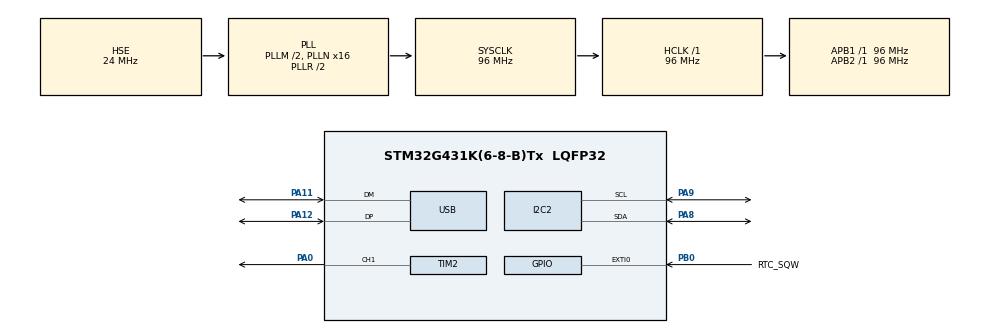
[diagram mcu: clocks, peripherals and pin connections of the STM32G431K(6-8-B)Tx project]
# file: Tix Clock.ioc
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Dma.Request0=TIM2_CH1
Dma.TIM2_CH1.0.Direction=DMA_MEMORY_TO_PERIPH
Dma.TIM2_CH1.0.EventEnable=DISABLE
Dma.TIM2_CH1.0.Instance=DMA1_Channel1
Dma.TIM2_CH1.0.MemDataAlignment=DMA_MDATAALIGN_WORD
Dma.TIM2_CH1.0.MemInc=DMA_MINC_ENABLE
Dma.TIM2_CH1.0.Mode=DMA_NORMAL
Dma.TIM2_CH1.0.PeriphDataAlignment=DMA_PDATAALIGN_WORD
Dma.TIM2_CH1.0.PeriphInc=DMA_PINC_DISABLE
Dma.TIM2_CH1.0.Polarity=HAL_DMAMUX_REQ_GEN_RISING
Dma.TIM2_CH1.0.Priority=DMA_PRIORITY_LOW
Dma.TIM2_CH1.0.RequestNumber=1
Dma.TIM2_CH1.0.SignalID=NONE
Dma.TIM2_CH1.0.SyncEnable=DISABLE
Dma.TIM2_CH1.0.SyncPolarity=HAL_DMAMUX_SYNC_NO_EVENT
Dma.TIM2_CH1.0.SyncRequestNumber=1
Dma.TIM2_CH1.0.SyncSignalID=NONE
I2C2.Timing=0x10B0DCFB
Mcu.Family=STM32G4
Mcu.Name=STM32G431K(6-8-B)Tx
Mcu.Package=LQFP32
NVIC.DMA1_Channel1_IRQn=true\:0\:0\:false\:false\:true\:false\:true\:true
NVIC.EXTI0_IRQn=true\:0\:0\:false\:false\:true\:true\:true\:true
NVIC.PriorityGroup=NVIC_PRIORITYGROUP_4
NVIC.TIM2_IRQn=true\:0\:0\:false\:false\:true\:true\:true\:true
NVIC.USB_LP_IRQn=true\:0\:0\:false\:false\:true\:false\:true\:true
PA0.Signal=S_TIM2_CH1
PA11.Mode=Device
PA11.Signal=USB_DM
PA12.Mode=Device
PA12.Signal=USB_DP
PA13.Mode=Trace_Asynchronous_SW
PA13.Signal=SYS_JTMS-SWDIO
PA14.Mode=Trace_Asynchronous_SW
PA14.Signal=SYS_JTCK-SWCLK
PA8.GPIO_Pu=GPIO_PULLUP
PA8.Mode=I2C
PA8.Signal=I2C2_SDA
PA9.GPIO_Pu=GPIO_PULLUP
PA9.Mode=I2C
PA9.Signal=I2C2_SCL
PB0.GPIO_Label=RTC_SQW
PB0.GPIO_PuPd=GPIO_PULLUP
PB0.Signal=GPXTI0
PB3.Mode=Trace_Asynchronous_SW
PB3.Signal=SYS_JTDO-SWO
PF0-OSC_IN.Mode=HSE-External-Oscillator
PF0-OSC_IN.Signal=RCC_OSC_IN
PF1-OSC_OUT.Mode=HSE-External-Oscillator
PF1-OSC_OUT.Signal=RCC_OSC_OUT
ProjectManager.HeapSize=0x200
ProjectManager.StackSize=0x400
ProjectManager.TargetToolchain=STM32CubeIDE
RCC.ADC12Freq_Value=96000000
RCC.AHBFreq_Value=96000000
RCC.APB1Freq_Value=96000000
RCC.APB1TimFreq_Value=96000000
RCC.APB2Freq_Value=96000000
RCC.APB2TimFreq_Value=96000000
RCC.CortexFreq_Value=96000000
RCC.EXTERNAL_CLOCK_VALUE=12288000
RCC.HCLKFreq_Value=96000000
RCC.HSE_VALUE=24000000
RCC.HSI48_VALUE=48000000
RCC.HSI_VALUE=16000000
RCC.LSE_VALUE=32768
RCC.PLLM=RCC_PLLM_DIV2
RCC.PLLN=16
RCC.PLLQ=RCC_PLLQ_DIV4
RCC.PLLSourceVirtual=RCC_PLLSOURCE_HSE
RCC.SYSCLKFreq_VALUE=96000000
RCC.SYSCLKSource=RCC_SYSCLKSOURCE_PLLCLK
RCC.USBFreq_Value=48000000
RCC.VCOOutputFreq_Value=192000000
SH.S_TIM2_CH1.0=TIM2_CH1,PWM Generation1 CH1
TIM2.Channel-PWM\ Generation1\ CH1=TIM_CHANNEL_1
TIM2.PeriodNoDither=30-1
TIM2.Prescaler=4-1
USB_DEVICE.CLASS_NAME_FS=CDC
USB_DEVICE.VirtualMode=Cdc
USB_DEVICE.VirtualModeFS=Cdc_FS
VP_RNG_VS_RNG.Mode=RNG_Activate
VP_SYS_VS_DBSignals.Mode=DisableDeadBatterySignals
VP_TIM2_VS_ClockSourceINT.Mode=Internal
VP_USB_DEVICE_VS_USB_DEVICE_CDC_FS.Mode=CDC_FS
board=custom

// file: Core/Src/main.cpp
/* USER CODE BEGIN Header */
/**
  ******************************************************************************
  * @file           : main.c
  * @brief          : Main program body
  ******************************************************************************
  * @attention
  *
  * Copyright (c) 2024 STMicroelectronics.
  * All rights reserved.
  *
  * This software is licensed under terms that can be found in the LICENSE file
  * in the root directory of this software component.
  * If no LICENSE file comes with this software, it is provided AS-IS.
  *
  ******************************************************************************
  */
/* USER CODE END Header */
#include "main.h"
#include "usb_device.h"

/* USER CODE BEGIN Includes */
#include "stdbool.h"
#include "clockManager.h"
#include "usbd_cdc_if.h"
#include "usb_dfu.h"
/* USER CODE END Includes */

I2C_HandleTypeDef hi2c2;

RNG_HandleTypeDef hrng;

TIM_HandleTypeDef htim2;
DMA_HandleTypeDef hdma_tim2_ch1;

void SystemClock_Config(void);
static void MX_GPIO_Init(void);
static void MX_DMA_Init(void);
static void MX_I2C2_Init(void);
static void MX_TIM2_Init(void);
static void MX_RNG_Init(void);

/* USER CODE BEGIN 0 */
clockManager clock(&htim2, TIM_CHANNEL_1, &hrng, &hi2c2);
uint8_t clockUpdateFrequency = 2;
uint8_t secondsSinceLastClockUpdate = 0;
/* USER CODE END 0 */

int main(void)
{
  /* USER CODE BEGIN 1 */
  USB_CheckDfuEnabled();
  /* USER CODE END 1 */

  /* MCU Configuration--------------------------------------------------------*/

  /* Reset of all peripherals, Initializes the Flash interface and the Systick. */
  HAL_Init();

  /* Configure the system clock */
  SystemClock_Config();

  /* Initialize all configured peripherals */
  MX_GPIO_Init();
  MX_DMA_Init();
  MX_I2C2_Init();
  MX_TIM2_Init();
  MX_RNG_Init();
  MX_USB_Device_Init();
  /* USER CODE BEGIN 2 */
  setvbuf(stdout, NULL, _IONBF, 0); //Disable buffering on stdout
  clock.setupRTC();
  /* USER CODE END 2 */

  /* Infinite loop */
  /* USER CODE BEGIN WHILE */
  while (1)
  {
	  if (secondsSinceLastClockUpdate >= clockUpdateFrequency)
	  {
		  clock.updateAll();
		  secondsSinceLastClockUpdate = 0;
	  }
    /* USER CODE END WHILE */

  }
}

void SystemClock_Config(void)
{
  RCC_OscInitTypeDef RCC_OscInitStruct = {0};
  RCC_ClkInitTypeDef RCC_ClkInitStruct = {0};

  /** Configure the main internal regulator output voltage
  */
  HAL_PWREx_ControlVoltageScaling(PWR_REGULATOR_VOLTAGE_SCALE1);

  /** Initializes the RCC Oscillators according to the specified parameters
  * in the RCC_OscInitTypeDef structure.
  */
  RCC_OscInitStruct.OscillatorType = RCC_OSCILLATORTYPE_HSE;
  RCC_OscInitStruct.HSEState = RCC_HSE_ON;
  RCC_OscInitStruct.PLL.PLLState = RCC_PLL_ON;
  RCC_OscInitStruct.PLL.PLLSource = RCC_PLLSOURCE_HSE;
  RCC_OscInitStruct.PLL.PLLM = RCC_PLLM_DIV2;
  RCC_OscInitStruct.PLL.PLLN = 16;
  RCC_OscInitStruct.PLL.PLLP = RCC_PLLP_DIV2;
  RCC_OscInitStruct.PLL.PLLQ = RCC_PLLQ_DIV4;
  RCC_OscInitStruct.PLL.PLLR = RCC_PLLR_DIV2;
  if (HAL_RCC_OscConfig(&RCC_OscInitStruct) != HAL_OK)
  {
    Error_Handler();
  }

  /** Initializes the CPU, AHB and APB buses clocks
  */
  RCC_ClkInitStruct.ClockType = RCC_CLOCKTYPE_HCLK|RCC_CLOCKTYPE_SYSCLK
                              |RCC_CLOCKTYPE_PCLK1|RCC_CLOCKTYPE_PCLK2;
  RCC_ClkInitStruct.SYSCLKSource = RCC_SYSCLKSOURCE_PLLCLK;
  RCC_ClkInitStruct.AHBCLKDivider = RCC_SYSCLK_DIV1;
  RCC_ClkInitStruct.APB1CLKDivider = RCC_HCLK_DIV1;
  RCC_ClkInitStruct.APB2CLKDivider = RCC_HCLK_DIV1;

  if (HAL_RCC_ClockConfig(&RCC_ClkInitStruct, FLASH_LATENCY_3) != HAL_OK)
  {
    Error_Handler();
  }
}

static void MX_I2C2_Init(void)
{

  hi2c2.Instance = I2C2;
  hi2c2.Init.Timing = 0x10B0DCFB;
  hi2c2.Init.OwnAddress1 = 0;
  hi2c2.Init.AddressingMode = I2C_ADDRESSINGMODE_7BIT;
  hi2c2.Init.DualAddressMode = I2C_DUALADDRESS_DISABLE;
  hi2c2.Init.OwnAddress2 = 0;
  hi2c2.Init.OwnAddress2Masks = I2C_OA2_NOMASK;
  hi2c2.Init.GeneralCallMode = I2C_GENERALCALL_DISABLE;
  hi2c2.Init.NoStretchMode = I2C_NOSTRETCH_DISABLE;
  if (HAL_I2C_Init(&hi2c2) != HAL_OK)
  {
    Error_Handler();
  }

  /** Configure Analogue filter
  */
  if (HAL_I2CEx_ConfigAnalogFilter(&hi2c2, I2C_ANALOGFILTER_ENABLE) != HAL_OK)
  {
    Error_Handler();
  }

  /** Configure Digital filter
  */
  if (HAL_I2CEx_ConfigDigitalFilter(&hi2c2, 0) != HAL_OK)
  {
    Error_Handler();
  }

}

static void MX_RNG_Init(void)
{

  hrng.Instance = RNG;
  hrng.Init.ClockErrorDetection = RNG_CED_ENABLE;
  if (HAL_RNG_Init(&hrng) != HAL_OK)
  {
    Error_Handler();
  }

}

static void MX_TIM2_Init(void)
{

  TIM_ClockConfigTypeDef sClockSourceConfig = {0};
  TIM_MasterConfigTypeDef sMasterConfig = {0};
  TIM_OC_InitTypeDef sConfigOC = {0};

  htim2.Instance = TIM2;
  htim2.Init.Prescaler = 4-1;
  htim2.Init.CounterMode = TIM_COUNTERMODE_UP;
  htim2.Init.Period = 29;
  htim2.Init.ClockDivision = TIM_CLOCKDIVISION_DIV1;
  htim2.Init.AutoReloadPreload = TIM_AUTORELOAD_PRELOAD_DISABLE;
  if (HAL_TIM_Base_Init(&htim2) != HAL_OK)
  {
    Error_Handler();
  }
  sClockSourceConfig.ClockSource = TIM_CLOCKSOURCE_INTERNAL;
  if (HAL_TIM_ConfigClockSource(&htim2, &sClockSourceConfig) != HAL_OK)
  {
    Error_Handler();
  }
  if (HAL_TIM_PWM_Init(&htim2) != HAL_OK)
  {
    Error_Handler();
  }
  sMasterConfig.MasterOutputTrigger = TIM_TRGO_RESET;
  sMasterConfig.MasterSlaveMode = TIM_MASTERSLAVEMODE_DISABLE;
  if (HAL_TIMEx_MasterConfigSynchronization(&htim2, &sMasterConfig) != HAL_OK)
  {
    Error_Handler();
  }
  sConfigOC.OCMode = TIM_OCMODE_PWM1;
  sConfigOC.Pulse = 0;
  sConfigOC.OCPolarity = TIM_OCPOLARITY_HIGH;
  sConfigOC.OCFastMode = TIM_OCFAST_DISABLE;
  if (HAL_TIM_PWM_ConfigChannel(&htim2, &sConfigOC, TIM_CHANNEL_1) != HAL_OK)
  {
    Error_Handler();
  }
  HAL_TIM_MspPostInit(&htim2);

}

static void MX_DMA_Init(void)
{

  /* DMA controller clock enable */
  __HAL_RCC_DMAMUX1_CLK_ENABLE();
  __HAL_RCC_DMA1_CLK_ENABLE();

  /* DMA interrupt init */
  /* DMA1_Channel1_IRQn interrupt configuration */
  HAL_NVIC_SetPriority(DMA1_Channel1_IRQn, 0, 0);
  HAL_NVIC_EnableIRQ(DMA1_Channel1_IRQn);

}

static void MX_GPIO_Init(void)
{
  GPIO_InitTypeDef GPIO_InitStruct = {0};

  /* GPIO Ports Clock Enable */
  __HAL_RCC_GPIOF_CLK_ENABLE();
  __HAL_RCC_GPIOA_CLK_ENABLE();
  __HAL_RCC_GPIOB_CLK_ENABLE();

  /*Configure GPIO pin : RTC_SQW_Pin */
  GPIO_InitStruct.Pin = RTC_SQW_Pin;
  GPIO_InitStruct.Mode = GPIO_MODE_IT_RISING;
  GPIO_InitStruct.Pull = GPIO_PULLUP;
  HAL_GPIO_Init(RTC_SQW_GPIO_Port, &GPIO_InitStruct);

  /* EXTI interrupt init*/
  HAL_NVIC_SetPriority(EXTI0_IRQn, 0, 0);
  HAL_NVIC_EnableIRQ(EXTI0_IRQn);

}

/* USER CODE BEGIN 4 */
void HAL_TIM_PWM_PulseFinishedCallback(TIM_HandleTypeDef * htim)
{
	clock.pulseCompleted();
}

void HAL_GPIO_EXTI_Callback(uint16_t gpioPin)
{
	if (gpioPin == GPIO_PIN_0)
	{
		secondsSinceLastClockUpdate++;
	}
}

void setTime(uint8_t seconds, uint8_t minutes, uint8_t hours)
{
	clock.setTime(seconds, minutes, hours, 1, 1, 1, 0);
}

void setTimeType(bool is24HourTime)
{
	clock.use24HourTime = is24HourTime;
}

void setClockFrequency(uint8_t frequency)
{
	clockUpdateFrequency = frequency;
}

int __io_putchar(int ch)
{
	return (int) ITM_SendChar(ch);
}
/* USER CODE END 4 */

void Error_Handler(void)
{
  __disable_irq();
  while (1)
  {
  }
}
